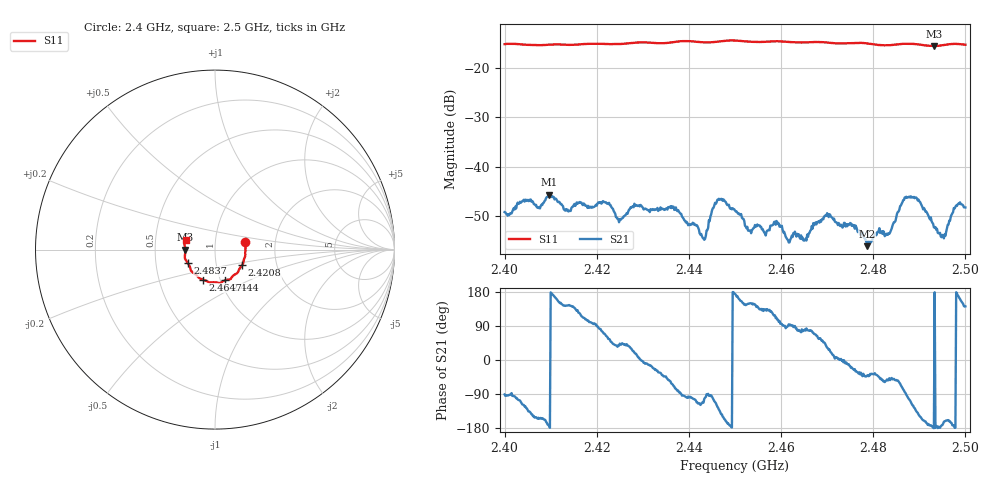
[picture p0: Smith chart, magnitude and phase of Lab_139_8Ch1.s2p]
# Hz S RI R 50
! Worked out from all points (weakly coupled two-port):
!   601 points, 2.4 GHz to 2.5 GHz, reference 50 ohm
!   highest |S21| = -45.62 dB at 2.4097 GHz (marker M1); lowest = -56.0 dB at 2.4787 GHz (marker M2)
!   lowest |S11| = -15.6 dB at 2.4932 GHz (marker M3), VSWR 1.40, Z = 35.8 - j0.09 ohm
!   |S11| at or under -10 dB: start of sweep to end of sweep
!   S12 and S22 are empty: the file has one direction only
!   S11 on the Smith chart (normalised r, x): 2.4 GHz: 1.40, +0.12; 2.4208 GHz: 1.33, -0.24; 2.444 GHz: 1.06, -0.37; 2.4647 GHz: 0.83, -0.29; 2.4837 GHz: 0.73, -0.11; 2.5 GHz: 0.72, +0.08
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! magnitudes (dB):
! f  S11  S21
! 2.4 GHz  -15.2  -49.1
! 2.4097 GHz  -15.3  -45.6
! 2.4167 GHz  -15.2  -47.2
! 2.4208 GHz  -15.2  -47.1
! 2.425 GHz  -15.2  -50.6
! 2.4333 GHz  -15.1  -48.9
! 2.444 GHz  -14.9  -52.8
! 2.4465 GHz  -14.7  -46.4
! 2.45 GHz  -14.5  -48.8
! 2.4533 GHz  -14.7  -52.8
! 2.459 GHz  -14.7  -50.9
! 2.4647 GHz  -14.9  -54.3
! 2.4667 GHz  -14.8  -51.9
! 2.4702 GHz  -14.9  -49.7
! 2.4787 GHz  -15.1  -56.0
! 2.4833 GHz  -15.5  -53.4
! 2.4837 GHz  -15.4  -53.2
! 2.4873 GHz  -15.1  -46.2
! 2.4932 GHz  -15.6  -52.2
! 2.4952 GHz  -15.4  -53.9
! 2.498 GHz  -15.2  -47.8
! 2.5 GHz  -15.4  -48.2
